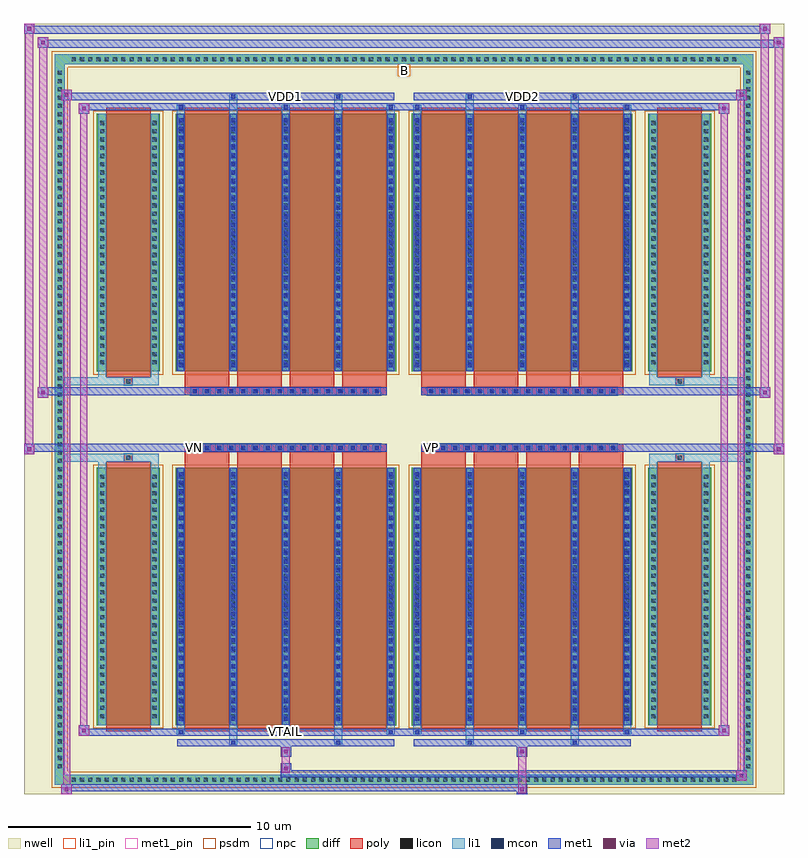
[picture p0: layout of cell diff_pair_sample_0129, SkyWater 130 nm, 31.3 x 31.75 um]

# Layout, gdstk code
import gdstk
lib = gdstk.Library(unit=1e-6, precision=5e-09)
def R(c, l, rs):  # rectangles x0, y0, x1, y1
    for r in rs: c.add(gdstk.rectangle(r[:2], r[2:], *l))
def A(c, l, x, y, w, h, nx, ny, dx, dy):  # array of equal rectangles
    R(c, l, [(x+i*dx, y+j*dy, x+i*dx+w, y+j*dy+h) for i in range(nx) for j in range(ny)])
def P(c, l, *ps):  # polygons
    for p in ps: c.add(gdstk.Polygon(p, *l))
nwell = (64, 20)
diff = (65, 20)
poly = (66, 20)
licon = (66, 44)
li1_pin = (67, 16)
li1 = (67, 20)
mcon = (67, 44)
met1_pin = (68, 16)
met1 = (68, 20)
via = (68, 44)
met2 = (69, 20)
psdm = (94, 20)
npc = (95, 20)

diff_pair_sample_0129 = lib.new_cell('diff_pair_sample_0129')
R(diff_pair_sample_0129, nwell, [(-15.65,-15.44,15.65,16.31), (-12.97,-13.63,-0.01,-0.805), (0.01,-13.63,12.97,-0.805), (-12.97,0.805,-0.01,13.63), (0.01,0.805,12.97,13.63)])
A(diff_pair_sample_0129, diff, -13.805, -15.04, 0.41, 0.41, 81, 2, 0.34, 29.67)
A(diff_pair_sample_0129, diff, -14.38, -14.485, 0.41, 0.41, 1, 85, 0, 0.34)
A(diff_pair_sample_0129, diff, 13.97, -14.485, 0.41, 0.41, 1, 85, 0, 0.34)
R(diff_pair_sample_0129, diff, [(-13.805,-15.04,13.805,-14.63), (-14.38,-14.485,-13.97,14.485), (13.97,-14.485,14.38,14.485), (-12.66,-12.585,-10.05,-1.985), (-9.41,-12.585,-0.32,-1.985), (0.32,-12.585,9.41,-1.985), (10.05,-12.585,12.66,-1.985), (-12.66,1.985,-10.05,12.585), (-9.41,1.985,-0.32,12.585), (0.32,1.985,9.41,12.585), (10.05,1.985,12.66,12.585), (-13.805,14.63,13.805,15.04)])
P(diff_pair_sample_0129, diff, [(14.38,15.04),(-14.38,15.04),(-14.38,-14.63),(-13.97,-14.63),(-13.97,14.63),(13.97,14.63),(13.97,-14.63),(-13.97,-14.63),(-14.38,-14.63),(-14.38,-15.04),(14.38,-15.04)])
A(diff_pair_sample_0129, poly, -9.02, -12.835, 1.83, 11.1, 4, 2, 2.16, 14.57)
A(diff_pair_sample_0129, poly, 0.71, -12.835, 1.83, 11.1, 4, 2, 2.16, 14.57)
A(diff_pair_sample_0129, poly, -9.02, -1.735, 1.83, 0.4, 4, 2, 2.16, 3.07)
A(diff_pair_sample_0129, poly, 0.71, -1.735, 1.83, 0.4, 4, 2, 2.16, 3.07)
A(diff_pair_sample_0129, poly, -8.78, -1.335, 0.33, 0.33, 16, 2, 0.5, 2.34)
A(diff_pair_sample_0129, poly, 0.95, -1.335, 0.33, 0.33, 16, 2, 0.5, 2.34)
R(diff_pair_sample_0129, poly, [(-12.27,-12.835,-10.44,-1.735), (10.44,-12.835,12.27,-1.735), (-11.52,-1.735,-11.19,-1.405), (-11.52,-1.735,-11.19,-1.405), (11.19,-1.735,11.52,-1.405), (11.19,-1.735,11.52,-1.405), (-9.02,-1.335,-0.71,-1.005), (0.71,-1.335,9.02,-1.005), (-9.02,1.005,-0.71,1.335), (0.71,1.005,9.02,1.335), (-11.52,1.405,-11.19,1.735), (-11.52,1.405,-11.19,1.735), (11.19,1.405,11.52,1.735), (11.19,1.405,11.52,1.735), (-12.27,1.735,-10.44,12.835), (10.44,1.735,12.27,12.835)])
A(diff_pair_sample_0129, licon, -13.685, -14.92, 0.17, 0.17, 81, 2, 0.34, 29.67)
A(diff_pair_sample_0129, licon, -14.26, -14.365, 0.17, 0.17, 1, 85, 0, 0.34)
A(diff_pair_sample_0129, licon, 14.09, -14.365, 0.17, 0.17, 1, 85, 0, 0.34)
A(diff_pair_sample_0129, licon, -12.52, -12.3, 0.17, 0.17, 1, 30, 0, 0.34)
A(diff_pair_sample_0129, licon, -10.36, -12.3, 0.17, 0.17, 1, 30, 0, 0.34)
A(diff_pair_sample_0129, licon, -9.27, -12.3, 0.17, 0.17, 5, 30, 2.16, 0.34)
A(diff_pair_sample_0129, licon, 0.46, -12.3, 0.17, 0.17, 5, 30, 2.16, 0.34)
A(diff_pair_sample_0129, licon, 10.19, -12.3, 0.17, 0.17, 1, 30, 0, 0.34)
A(diff_pair_sample_0129, licon, 12.35, -12.3, 0.17, 0.17, 1, 30, 0, 0.34)
A(diff_pair_sample_0129, licon, -8.7, -1.255, 0.17, 0.17, 16, 2, 0.5, 2.34)
A(diff_pair_sample_0129, licon, 1.03, -1.255, 0.17, 0.17, 16, 2, 0.5, 2.34)
A(diff_pair_sample_0129, licon, -12.52, 2.27, 0.17, 0.17, 1, 30, 0, 0.34)
A(diff_pair_sample_0129, licon, -10.36, 2.27, 0.17, 0.17, 1, 30, 0, 0.34)
A(diff_pair_sample_0129, licon, -9.27, 2.27, 0.17, 0.17, 5, 30, 2.16, 0.34)
A(diff_pair_sample_0129, licon, 0.46, 2.27, 0.17, 0.17, 5, 30, 2.16, 0.34)
A(diff_pair_sample_0129, licon, 10.19, 2.27, 0.17, 0.17, 1, 30, 0, 0.34)
A(diff_pair_sample_0129, licon, 12.35, 2.27, 0.17, 0.17, 1, 30, 0, 0.34)
R(diff_pair_sample_0129, licon, [(-11.44,-1.655,-11.27,-1.485), (11.27,-1.655,11.44,-1.485), (-11.44,1.485,-11.27,1.655), (11.27,1.485,11.44,1.655)])
R(diff_pair_sample_0129, li1_pin, [(-0.25,14.13,0.25,14.63)])
A(diff_pair_sample_0129, li1, -13.765, -15, 0.33, 0.33, 81, 2, 0.34, 29.67)
A(diff_pair_sample_0129, li1, -14.34, -14.445, 0.33, 0.33, 1, 85, 0, 0.34)
A(diff_pair_sample_0129, li1, 14.01, -14.445, 0.33, 0.33, 1, 85, 0, 0.34)
A(diff_pair_sample_0129, li1, -9.35, -12.96, 0.33, 0.375, 3, 2, 4.32, 25.545)
A(diff_pair_sample_0129, li1, -9.27, -12.96, 0.17, 0.17, 3, 2, 4.32, 25.75)
A(diff_pair_sample_0129, li1, 0.38, -12.96, 0.33, 0.375, 3, 2, 4.32, 25.545)
A(diff_pair_sample_0129, li1, 0.46, -12.96, 0.17, 0.17, 3, 2, 4.32, 25.75)
A(diff_pair_sample_0129, li1, -9.35, -12.585, 0.33, 10.6, 5, 2, 2.16, 14.57)
A(diff_pair_sample_0129, li1, 0.38, -12.585, 0.33, 10.6, 5, 2, 2.16, 14.57)
A(diff_pair_sample_0129, li1, -9.27, -12.41, 0.17, 0.17, 5, 29, 2.16, 0.36)
A(diff_pair_sample_0129, li1, -9.27, -12.41, 0.17, 10.25, 5, 2, 2.16, 14.57)
A(diff_pair_sample_0129, li1, 0.46, -12.41, 0.17, 0.17, 5, 29, 2.16, 0.36)
A(diff_pair_sample_0129, li1, 0.46, -12.41, 0.17, 10.25, 5, 2, 2.16, 14.57)
A(diff_pair_sample_0129, li1, -12.6, -12.38, 0.33, 0.33, 1, 30, 0, 0.34)
A(diff_pair_sample_0129, li1, -10.44, -12.38, 0.33, 0.33, 1, 30, 0, 0.34)
A(diff_pair_sample_0129, li1, -9.35, -12.38, 0.33, 0.33, 5, 30, 2.16, 0.34)
A(diff_pair_sample_0129, li1, 0.38, -12.38, 0.33, 0.33, 5, 30, 2.16, 0.34)
A(diff_pair_sample_0129, li1, 10.11, -12.38, 0.33, 0.33, 1, 30, 0, 0.34)
A(diff_pair_sample_0129, li1, 12.27, -12.38, 0.33, 0.33, 1, 30, 0, 0.34)
A(diff_pair_sample_0129, li1, -8.78, -1.335, 0.33, 0.33, 16, 2, 0.5, 2.34)
A(diff_pair_sample_0129, li1, 0.95, -1.335, 0.33, 0.33, 16, 2, 0.5, 2.34)
A(diff_pair_sample_0129, li1, -9.27, 2.16, 0.17, 0.17, 5, 29, 2.16, 0.36)
A(diff_pair_sample_0129, li1, 0.46, 2.16, 0.17, 0.17, 5, 29, 2.16, 0.36)
A(diff_pair_sample_0129, li1, -12.6, 2.19, 0.33, 0.33, 1, 30, 0, 0.34)
A(diff_pair_sample_0129, li1, -10.44, 2.19, 0.33, 0.33, 1, 30, 0, 0.34)
A(diff_pair_sample_0129, li1, -9.35, 2.19, 0.33, 0.33, 5, 30, 2.16, 0.34)
A(diff_pair_sample_0129, li1, 0.38, 2.19, 0.33, 0.33, 5, 30, 2.16, 0.34)
A(diff_pair_sample_0129, li1, 10.11, 2.19, 0.33, 0.33, 1, 30, 0, 0.34)
A(diff_pair_sample_0129, li1, 12.27, 2.19, 0.33, 0.33, 1, 30, 0, 0.34)
R(diff_pair_sample_0129, li1, [(-14.38,-15.04,-13.97,-14.63), (-14.38,-15.04,-13.97,-14.63), (-13.97,-15.04,13.97,-14.63), (13.97,-15.04,14.38,-14.63), (13.97,-15.04,14.38,-14.63), (-14.38,-14.63,-13.97,14.63), (13.97,-14.63,14.38,14.63), (-7.19,-13.39,-6.86,-12.585), (-7.11,-13.39,-6.94,-13.22), (-2.87,-13.39,-2.54,-12.585), (-2.79,-13.39,-2.62,-13.22), (2.54,-13.39,2.87,-12.585), (2.62,-13.39,2.79,-13.22), (6.86,-13.39,7.19,-12.585), (6.94,-13.39,7.11,-13.22), (-12.6,-12.585,-12.27,-1.985), (-10.44,-12.585,-10.11,-1.985), (10.11,-12.585,10.44,-1.985), (12.27,-12.585,12.6,-1.985), (-12.6,-1.985,-12.27,-1.405), (-10.44,-1.985,-10.11,-1.405), (10.11,-1.985,10.44,-1.405), (12.27,-1.985,12.6,-1.405), (-14.38,-1.735,-11.52,-1.405), (-12.6,-1.735,-11.52,-1.405), (-11.52,-1.735,-11.19,-1.405), (-11.19,-1.735,-10.11,-1.405), (10.11,-1.735,11.19,-1.405), (11.19,-1.735,11.52,-1.405), (11.19,-1.735,14.38,-1.405), (11.52,-1.735,12.6,-1.405), (-14.38,1.405,-11.52,1.735), (-12.6,1.405,-11.52,1.735), (-12.6,1.405,-12.27,1.985), (-11.52,1.405,-11.19,1.735), (-11.19,1.405,-10.11,1.735), (-10.44,1.405,-10.11,1.985), (10.11,1.405,11.19,1.735), (10.11,1.405,10.44,1.985), (11.19,1.405,11.52,1.735), (11.19,1.405,14.38,1.735), (11.52,1.405,12.6,1.735), (12.27,1.405,12.6,1.985), (-12.6,1.985,-12.27,12.585), (-10.44,1.985,-10.11,12.585), (10.11,1.985,10.44,12.585), (12.27,1.985,12.6,12.585), (-7.19,12.585,-6.86,13.39), (-2.87,12.585,-2.54,13.39), (2.54,12.585,2.87,13.39), (6.86,12.585,7.19,13.39), (-7.11,13.22,-6.94,13.39), (-2.79,13.22,-2.62,13.39), (2.62,13.22,2.79,13.39), (6.94,13.22,7.11,13.39), (-14.38,14.63,-13.97,15.04), (-14.38,14.63,-13.97,15.04), (-13.97,14.63,13.97,15.04), (13.97,14.63,14.38,15.04), (13.97,14.63,14.38,15.04)])
A(diff_pair_sample_0129, mcon, -9.27, -12.96, 0.17, 0.17, 3, 2, 4.32, 25.75)
A(diff_pair_sample_0129, mcon, 0.46, -12.96, 0.17, 0.17, 3, 2, 4.32, 25.75)
A(diff_pair_sample_0129, mcon, -9.27, -12.41, 0.17, 0.17, 5, 29, 2.16, 0.36)
A(diff_pair_sample_0129, mcon, 0.46, -12.41, 0.17, 0.17, 5, 29, 2.16, 0.36)
A(diff_pair_sample_0129, mcon, -8.7, -1.255, 0.17, 0.17, 16, 2, 0.5, 2.34)
A(diff_pair_sample_0129, mcon, 1.03, -1.255, 0.17, 0.17, 16, 2, 0.5, 2.34)
A(diff_pair_sample_0129, mcon, -9.27, 2.16, 0.17, 0.17, 5, 29, 2.16, 0.36)
A(diff_pair_sample_0129, mcon, 0.46, 2.16, 0.17, 0.17, 5, 29, 2.16, 0.36)
R(diff_pair_sample_0129, mcon, [(-7.11,-13.39,-6.94,-13.22), (-2.79,-13.39,-2.62,-13.22), (2.62,-13.39,2.79,-13.22), (6.94,-13.39,7.11,-13.22), (-7.11,13.22,-6.94,13.39), (-2.79,13.22,-2.62,13.39), (2.62,13.22,2.79,13.39), (6.94,13.22,7.11,13.39)])
R(diff_pair_sample_0129, met1_pin, [(-5,-13,-4.73,-12.73), (-8.75,-1.295,-8.48,-1.025), (0.98,-1.295,1.25,-1.025), (-5,13.18,-4.73,13.45), (4.73,13.18,5,13.45)])
A(diff_pair_sample_0129, met1, -9.33, -13.02, 0.29, 0.29, 3, 2, 4.32, 25.75)
A(diff_pair_sample_0129, met1, 0.4, -13.02, 0.29, 0.29, 3, 2, 4.32, 25.75)
A(diff_pair_sample_0129, met1, -9.33, -12.585, 0.29, 10.6, 5, 2, 2.16, 14.57)
A(diff_pair_sample_0129, met1, 0.4, -12.585, 0.29, 10.6, 5, 2, 2.16, 14.57)
A(diff_pair_sample_0129, met1, -9.33, -12.47, 0.29, 0.29, 5, 29, 2.16, 0.36)
A(diff_pair_sample_0129, met1, 0.4, -12.47, 0.29, 0.29, 5, 29, 2.16, 0.36)
A(diff_pair_sample_0129, met1, -8.76, -1.315, 0.29, 0.29, 16, 2, 0.5, 2.34)
A(diff_pair_sample_0129, met1, 0.97, -1.315, 0.29, 0.29, 16, 2, 0.5, 2.34)
A(diff_pair_sample_0129, met1, -9.33, 2.1, 0.29, 0.29, 5, 29, 2.16, 0.36)
A(diff_pair_sample_0129, met1, 0.4, 2.1, 0.29, 0.29, 5, 29, 2.16, 0.36)
R(diff_pair_sample_0129, met1, [(-14.11,-15.44,-13.68,-15.01), (4.65,-15.44,5.08,-15.01), (-14.11,-15.3,5.08,-15.01), (13.68,-14.87,14.11,-14.44), (-5.08,-14.73,14.11,-14.44), (-5.08,-14.59,-4.65,-14.16), (-5.08,-13.88,-4.65,-13.45), (4.65,-13.88,5.08,-13.45), (-9.33,-13.45,-0.4,-13.16), (-7.17,-13.45,-6.88,-13.16), (-2.85,-13.45,-2.56,-13.16), (0.4,-13.45,9.33,-13.16), (2.56,-13.45,2.85,-13.16), (6.88,-13.45,7.17,-13.16), (-13.4,-13.02,-12.97,-12.59), (-13.4,-13.02,-9.33,-12.73), (-9.33,-13.02,-0.4,-12.73), (-0.4,-13.02,0.4,-12.73), (0.4,-13.02,9.33,-12.73), (9.33,-13.02,13.4,-12.73), (12.97,-13.02,13.4,-12.59), (-15.65,-1.435,-15.22,-1.005), (15.22,-1.435,15.65,-1.005), (-15.65,-1.335,-0.71,-1.005), (-9.02,-1.335,-0.71,-1.005), (0.71,-1.335,9.02,-1.005), (0.71,-1.335,15.65,-1.005), (-15.08,0.905,-14.65,1.335), (14.65,0.905,15.08,1.335), (-15.08,1.005,-9.02,1.335), (-9.02,1.005,-0.71,1.335), (0.71,1.005,9.02,1.335), (9.02,1.005,15.08,1.335), (-13.4,12.59,-12.97,13.02), (12.97,12.59,13.4,13.02), (-13.4,12.73,-9.33,13.02), (-9.33,12.73,-0.4,13.02), (-0.4,12.73,0.4,13.02), (0.4,12.73,9.33,13.02), (9.33,12.73,13.4,13.02), (-14.11,13.16,-13.68,13.59), (-14.11,13.16,-9.33,13.45), (-9.33,13.16,-0.4,13.45), (-7.17,13.16,-6.88,13.45), (-2.85,13.16,-2.56,13.45), (0.4,13.16,9.33,13.45), (2.56,13.16,2.85,13.45), (6.88,13.16,7.17,13.45), (9.33,13.16,14.11,13.45), (13.68,13.16,14.11,13.59), (-15.08,15.31,-14.65,15.74), (-15.08,15.31,-12.97,15.64), (-12.97,15.31,12.97,15.64), (12.97,15.31,15.65,15.64), (15.22,15.31,15.65,15.74), (-15.65,15.88,-15.22,16.31), (-15.65,15.88,-12.97,16.21), (-12.97,15.88,12.97,16.21), (12.97,15.88,15.08,16.21), (14.65,15.88,15.08,16.31)])
R(diff_pair_sample_0129, via, [(-13.97,-15.3,-13.82,-15.15), (4.79,-15.3,4.94,-15.15), (13.82,-14.73,13.97,-14.58), (-4.94,-14.45,-4.79,-14.3), (-4.94,-13.74,-4.79,-13.59), (4.79,-13.74,4.94,-13.59), (-13.26,-12.88,-13.11,-12.73), (13.11,-12.88,13.26,-12.73), (-15.51,-1.295,-15.36,-1.145), (15.36,-1.295,15.51,-1.145), (-14.94,1.045,-14.79,1.195), (14.79,1.045,14.94,1.195), (-13.26,12.73,-13.11,12.88), (13.11,12.73,13.26,12.88), (-13.97,13.3,-13.82,13.45), (13.82,13.3,13.97,13.45), (-14.94,15.45,-14.79,15.6), (15.36,15.45,15.51,15.6), (-15.51,16.02,-15.36,16.17), (14.79,16.02,14.94,16.17)])
R(diff_pair_sample_0129, met2, [(-14.11,-15.44,-13.68,-15.01), (-14.04,-15.44,-13.75,13.59), (-13.75,-15.44,-13.68,-15.01), (-14.06,-15.39,-13.73,-15.06), (4.7,-15.39,5.03,-15.06), (4.7,-15.06,5.03,-13.83), (13.68,-14.87,14.11,-14.44), (13.75,-14.87,14.04,13.59), (14.04,-14.87,14.11,-14.44), (13.73,-14.82,14.06,-14.49), (-5.03,-14.54,-4.7,-14.21), (-5.03,-14.21,-4.7,-13.83), (-5.03,-13.83,-4.7,-13.5), (4.7,-13.83,5.03,-13.5), (-13.4,-13.02,-12.97,-12.59), (-13.33,-13.02,-13.04,13.02), (-13.04,-13.02,-12.97,-12.59), (12.97,-13.02,13.4,-12.59), (13.04,-13.02,13.33,13.02), (13.33,-13.02,13.4,-12.59), (-13.35,-12.97,-13.02,-12.64), (13.02,-12.97,13.35,-12.64), (-15.65,-1.435,-15.22,-1.005), (-15.6,-1.435,-15.27,16.31), (-15.27,-1.435,-15.22,-1.005), (15.22,-1.435,15.65,-1.005), (15.27,-1.435,15.6,15.74), (15.6,-1.435,15.65,-1.005), (-15.6,-1.385,-15.27,-1.055), (15.27,-1.385,15.6,-1.055), (-15.08,0.905,-14.65,1.335), (-15.03,0.905,-14.7,15.74), (-14.7,0.905,-14.65,1.335), (14.65,0.905,15.08,1.335), (14.7,0.905,15.03,16.31), (15.03,0.905,15.08,1.335), (-15.03,0.955,-14.7,1.285), (14.7,0.955,15.03,1.285), (-13.4,12.59,-12.97,13.02), (-13.04,12.59,-12.97,13.02), (12.97,12.59,13.4,13.02), (13.33,12.59,13.4,13.02), (-13.35,12.64,-13.02,12.97), (13.02,12.64,13.35,12.97), (-14.11,13.16,-13.68,13.59), (-13.75,13.16,-13.68,13.59), (13.68,13.16,14.11,13.59), (14.04,13.16,14.11,13.59), (-14.06,13.21,-13.73,13.54), (13.73,13.21,14.06,13.54), (-15.08,15.31,-14.65,15.74), (-14.7,15.31,-14.65,15.74), (15.22,15.31,15.65,15.74), (15.6,15.31,15.65,15.74), (-15.03,15.36,-14.7,15.69), (15.27,15.36,15.6,15.69), (-15.65,15.88,-15.22,16.31), (-15.27,15.88,-15.22,16.31), (14.65,15.88,15.08,16.31), (15.03,15.88,15.08,16.31), (-15.6,15.93,-15.27,16.26), (14.7,15.93,15.03,16.26)])
R(diff_pair_sample_0129, psdm, [(-12.79,-12.715,-9.92,-1.855), (-9.54,-12.715,-0.19,-1.855), (0.19,-12.715,9.54,-1.855), (9.92,-12.715,12.79,-1.855), (-12.79,1.855,-9.92,12.715), (-9.54,1.855,-0.19,12.715), (0.19,1.855,9.54,12.715), (9.92,1.855,12.79,12.715)])
P(diff_pair_sample_0129, psdm, [(14.51,15.17),(-14.51,15.17),(-14.51,-14.5),(-13.84,-14.5),(-13.84,14.5),(13.84,14.5),(13.84,-14.5),(-13.84,-14.5),(-14.51,-14.5),(-14.51,-15.17),(14.51,-15.17)])
A(diff_pair_sample_0129, npc, -8.8, -1.355, 0.37, 0.37, 16, 2, 0.5, 2.34)
A(diff_pair_sample_0129, npc, 0.93, -1.355, 0.37, 0.37, 16, 2, 0.5, 2.34)
R(diff_pair_sample_0129, npc, [(-11.54,-1.755,-11.17,-1.385), (11.17,-1.755,11.54,-1.385), (-8.8,-1.355,-7.93,-0.985), (-8.8,-1.355,-7.93,-0.985), (-8.3,-1.355,-7.43,-0.985), (-8.3,-1.355,-7.43,-0.985), (-7.8,-1.355,-6.93,-0.985), (-7.8,-1.355,-6.93,-0.985), (-7.3,-1.355,-6.43,-0.985), (-7.3,-1.355,-6.43,-0.985), (-6.8,-1.355,-5.93,-0.985), (-6.8,-1.355,-5.93,-0.985), (-6.3,-1.355,-5.43,-0.985), (-6.3,-1.355,-5.43,-0.985), (-5.8,-1.355,-4.93,-0.985), (-5.8,-1.355,-4.93,-0.985), (-5.3,-1.355,-4.43,-0.985), (-5.3,-1.355,-4.43,-0.985), (-4.8,-1.355,-3.93,-0.985), (-4.8,-1.355,-3.93,-0.985), (-4.3,-1.355,-3.43,-0.985), (-4.3,-1.355,-3.43,-0.985), (-3.8,-1.355,-2.93,-0.985), (-3.8,-1.355,-2.93,-0.985), (-3.3,-1.355,-2.43,-0.985), (-3.3,-1.355,-2.43,-0.985), (-2.8,-1.355,-1.93,-0.985), (-2.8,-1.355,-1.93,-0.985), (-2.3,-1.355,-1.43,-0.985), (-2.3,-1.355,-1.43,-0.985), (-1.8,-1.355,-0.93,-0.985), (-1.8,-1.355,-0.93,-0.985), (0.93,-1.355,1.8,-0.985), (0.93,-1.355,1.8,-0.985), (1.43,-1.355,2.3,-0.985), (1.43,-1.355,2.3,-0.985), (1.93,-1.355,2.8,-0.985), (1.93,-1.355,2.8,-0.985), (2.43,-1.355,3.3,-0.985), (2.43,-1.355,3.3,-0.985), (2.93,-1.355,3.8,-0.985), (2.93,-1.355,3.8,-0.985), (3.43,-1.355,4.3,-0.985), (3.43,-1.355,4.3,-0.985), (3.93,-1.355,4.8,-0.985), (3.93,-1.355,4.8,-0.985), (4.43,-1.355,5.3,-0.985), (4.43,-1.355,5.3,-0.985), (4.93,-1.355,5.8,-0.985), (4.93,-1.355,5.8,-0.985), (5.43,-1.355,6.3,-0.985), (5.43,-1.355,6.3,-0.985), (5.93,-1.355,6.8,-0.985), (5.93,-1.355,6.8,-0.985), (6.43,-1.355,7.3,-0.985), (6.43,-1.355,7.3,-0.985), (6.93,-1.355,7.8,-0.985), (6.93,-1.355,7.8,-0.985), (7.43,-1.355,8.3,-0.985), (7.43,-1.355,8.3,-0.985), (7.93,-1.355,8.8,-0.985), (7.93,-1.355,8.8,-0.985), (-8.8,0.985,-7.93,1.355), (-8.8,0.985,-7.93,1.355), (-8.3,0.985,-7.43,1.355), (-8.3,0.985,-7.43,1.355), (-7.8,0.985,-6.93,1.355), (-7.8,0.985,-6.93,1.355), (-7.3,0.985,-6.43,1.355), (-7.3,0.985,-6.43,1.355), (-6.8,0.985,-5.93,1.355), (-6.8,0.985,-5.93,1.355), (-6.3,0.985,-5.43,1.355), (-6.3,0.985,-5.43,1.355), (-5.8,0.985,-4.93,1.355), (-5.8,0.985,-4.93,1.355), (-5.3,0.985,-4.43,1.355), (-5.3,0.985,-4.43,1.355), (-4.8,0.985,-3.93,1.355), (-4.8,0.985,-3.93,1.355), (-4.3,0.985,-3.43,1.355), (-4.3,0.985,-3.43,1.355), (-3.8,0.985,-2.93,1.355), (-3.8,0.985,-2.93,1.355), (-3.3,0.985,-2.43,1.355), (-3.3,0.985,-2.43,1.355), (-2.8,0.985,-1.93,1.355), (-2.8,0.985,-1.93,1.355), (-2.3,0.985,-1.43,1.355), (-2.3,0.985,-1.43,1.355), (-1.8,0.985,-0.93,1.355), (-1.8,0.985,-0.93,1.355), (0.93,0.985,1.8,1.355), (0.93,0.985,1.8,1.355), (1.43,0.985,2.3,1.355), (1.43,0.985,2.3,1.355), (1.93,0.985,2.8,1.355), (1.93,0.985,2.8,1.355), (2.43,0.985,3.3,1.355), (2.43,0.985,3.3,1.355), (2.93,0.985,3.8,1.355), (2.93,0.985,3.8,1.355), (3.43,0.985,4.3,1.355), (3.43,0.985,4.3,1.355), (3.93,0.985,4.8,1.355), (3.93,0.985,4.8,1.355), (4.43,0.985,5.3,1.355), (4.43,0.985,5.3,1.355), (4.93,0.985,5.8,1.355), (4.93,0.985,5.8,1.355), (5.43,0.985,6.3,1.355), (5.43,0.985,6.3,1.355), (5.93,0.985,6.8,1.355), (5.93,0.985,6.8,1.355), (6.43,0.985,7.3,1.355), (6.43,0.985,7.3,1.355), (6.93,0.985,7.8,1.355), (6.93,0.985,7.8,1.355), (7.43,0.985,8.3,1.355), (7.43,0.985,8.3,1.355), (7.93,0.985,8.8,1.355), (7.93,0.985,8.8,1.355), (-11.54,1.385,-11.17,1.755), (11.17,1.385,11.54,1.755)])
diff_pair_sample_0129.add(gdstk.Label('VTAIL', (-4.865,-12.865), layer=68, texttype=5))
diff_pair_sample_0129.add(gdstk.Label('VN', (-8.615,-1.16), layer=68, texttype=5))
diff_pair_sample_0129.add(gdstk.Label('VP', (1.115,-1.16), layer=68, texttype=5))
diff_pair_sample_0129.add(gdstk.Label('B', (0,14.38), layer=67, texttype=5))
diff_pair_sample_0129.add(gdstk.Label('VDD2', (4.865,13.315), layer=68, texttype=5))
diff_pair_sample_0129.add(gdstk.Label('VDD1', (-4.865,13.315), layer=68, texttype=5))

lib.write_gds('diff_pair_sample_0129.gds')
